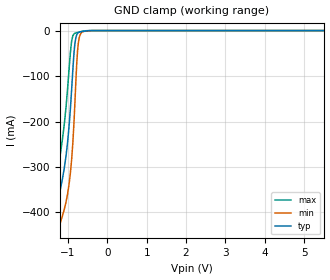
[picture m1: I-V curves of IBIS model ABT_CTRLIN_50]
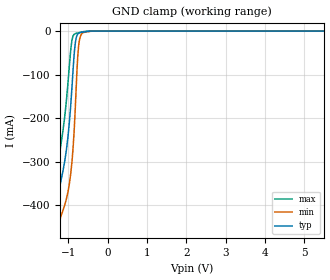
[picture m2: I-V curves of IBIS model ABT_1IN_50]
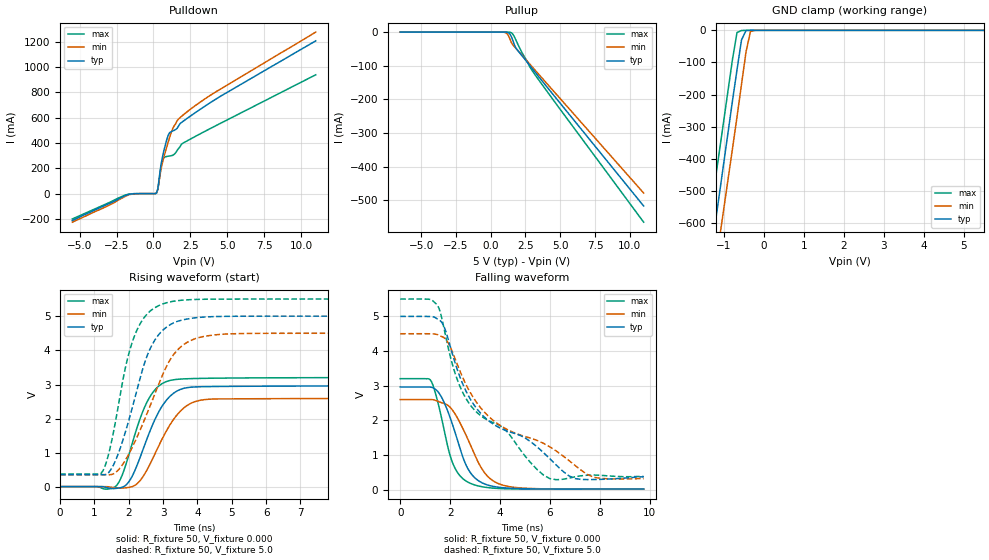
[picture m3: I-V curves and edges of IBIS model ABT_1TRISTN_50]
| Philips Semiconductors Inc.
| Logic Products Group
| IBIS model of 74ABT126
| 5V QUAD BUFFER/LINE DRIVER WITH ACTIVE HIGH OUTPUT
| ENABLE (3-STATE)
|[Packages]:
|[Package1]: SO 14-pin (D) Package ;
|[Package2]: SSOP 14-Pin Packages ;
|[Package3]: TSSOP 14-pin (PW) Package ;
[IBIS Ver]   3.2
[File Name]   abt126.ibs
[File Rev]   2.0
[Date]   04-Apr-2006
[Source]   File created from simulations by LPG
   Philips Semiconductors Nijmegen
[Notes]   V2.0   Ibis model.
Revision History
| Version Date   Author/ Description
|   Editor
| 1.0   1999   TA   Initial Version
| 1.1   September 2002 RM   Created fro IBIS version 3.2
| 1.2   February 2003  RM   Improved IBIS model
| 2.0   March 2006   RRV   Updated IBIS model
[Disclaimer]
    (C) Copyright 2003 Philips Semiconductors
    All rights reserved
    Philips Semiconductors warrants and represents that the IBIS model
    identified herein is owned by Philips Semiconductors (PHILIPS). The
    model provided is not warranted as fully representing all of the
    operating characteristics and specifications of the semiconductor
    products to which the model relates.  Moreover, unless there is a
    signed, written agreement to the contrary, this IBIS model is
    furnished on an "as is" basis without support or warranty of any
    kind, either expressed or implied, regarding the use thereof, and
    PHILIPS specifically disclaims all implied warranties of
    merchantability and fitness of the model for any purpose.
    PHILIPS does not assume any liability arising out of the application
    or use of this IBIS model including infringement of patents and
    copyrights, nor does PHILIPS convey any license under its patents and
    copyrights or the rights of others.
    PHILIPS provides IBIS models as a service to our customers. You and
    your company shall not distribute, convey, sell, or give these models
    to anyone else without receiving prior written permission from
    PHILIPS.
    PHILIPS reserves the right to make changes without notice to these
    IBIS models to improve reliability, function, or design.
    Please be aware that your receipt and subsequent use of the IBIS
    information provided shall serve as acceptance of the terms and
    conditions of this agreement.  If you do not accept these terms,
    you should return or destroy the IBIS models and any other
    accompanying information immediately.
|   Info for  SO 14-pin (D) Package
[Component]   74ABT126_1
[Manufacturer]   Philips Semiconductors Inc.
[Package]
|   typ   min   max
R_pkg   4.54E-02   4.18E-02   5.01E-02
L_pkg   2.31E-09   1.63E-09   3.26E-09
C_pkg   0.565E-12  0.437E-12  0.736E-12
[Pin] signal_name   model_name   R_pin   L_pin   C_pin
   1   1OE   ABT_CTRLIN_50 4.18E-02  3.26E-09 0.675E-12
   2   1A   ABT_1IN_50 5.01E-02  2.30E-09 0.574E-12
   3   1Y   ABT_1TRISTN_50 4.52E-02  1.71E-09 0.467E-12
   4   2OE   ABT_CTRLIN_50 4.38E-02  1.63E-09 0.437E-12
   5   2A   ABT_1IN_50 4.52E-02  1.71E-09 0.465E-12
   6   2Y   ABT_1TRISTN_50 5.01E-02  2.30E-09 0.573E-12
   7   GND   GND 4.18E-02  3.26E-09 0.736E-12
   8   3Y   ABT_1TRISTN_50 4.18E-02  3.26E-09 0.736E-12
   9   3A   ABT_1IN_50 5.01E-02  2.30E-09 0.573E-12
   10   3OE   ABT_CTRLIN_50 4.52E-02  1.71E-09 0.465E-12
   11   4Y   ABT_1TRISTN_50 4.38E-02  1.63E-09 0.437E-12
   12   4A   ABT_1IN_50 4.52E-02  1.71E-09 0.467E-12
   13   4OE   ABT_CTRLIN_50 5.01E-02  2.30E-09 0.574E-12
   14   VCC   POWER 4.18E-02  3.26E-09 0.736E-12
|   Info for  SSOP 14-Pin Packages
[Component]   74ABT126_2
[Manufacturer]   Philips Semiconductors Inc.
[Package]
|   typ   min   max
R_pkg   18.10E-03   15.70E-03   19.10E-03
L_pkg   2.12E-09   1.76E-09   2.65E-09
C_pkg   0.59E-12   0.55E-12   0.64E-12
[Pin] signal_name   model_name   R_pin   L_pin   C_pin
   1   1OE   ABT_CTRLIN_50 19.10E-03  2.65E-09  0.58E-12
   2   1A   ABT_1IN_50 17.70E-03  2.07E-09  0.64E-12
   3   1Y   ABT_1TRISTN_50 18.70E-03  1.82E-09  0.57E-12
   4   2OE   ABT_CTRLIN_50 15.70E-03  1.76E-09  0.55E-12
   5   2A   ABT_1IN_50 18.70E-03  1.82E-09  0.57E-12
   6   2Y   ABT_1TRISTN_50 17.70E-03  2.07E-09  0.63E-12
   7   GND   GND 19.10E-03  2.65E-09  0.60E-12
   8   3Y   ABT_1TRISTN_50 19.10E-03  2.65E-09  0.60E-12
   9   3A   ABT_1IN_50 17.80E-03  2.07E-09  0.64E-12
   10   3OE   ABT_CTRLIN_50 18.70E-03  1.82E-09  0.57E-12
   11   4Y   ABT_1TRISTN_50 15.70E-03  1.76E-09  0.55E-12
   12   4A   ABT_1IN_50 18.70E-03  1.82E-09  0.57E-12
   13   4OE   ABT_CTRLIN_50 17.80E-03  2.07E-09  0.64E-12
   14   VCC   POWER 19.10E-03  2.65E-09  0.60E-12
|   Info for  TSSOP 14-pin (PW) Package
[Component]   74ABT126_3
[Manufacturer]   Philips Semiconductors Inc.
[Package]
|   typ   min   max
R_pkg   3.44E-02   2.80E-02   4.33E-02
L_pkg   1.83E-09   1.36E-09   2.32E-09
C_pkg   0.380E-12  0.302E-12  0.442E-12
[Pin] signal_name   model_name   R_pin   L_pin   C_pin
   1   1OE   ABT_CTRLIN_50 3.46E-02  2.32E-09 0.423E-12
   2   1A   ABT_1IN_50 4.33E-02  2.04E-09 0.441E-12
   3   1Y   ABT_1TRISTN_50 2.80E-02  1.36E-09 0.307E-12
   4   2OE   ABT_CTRLIN_50 2.88E-02  1.38E-09 0.302E-12
   5   2A   ABT_1IN_50 2.80E-02  1.36E-09 0.308E-12
   6   2Y   ABT_1TRISTN_50 4.33E-02  2.04E-09 0.441E-12
   7   GND   GND 3.46E-02  2.32E-09 0.433E-12
   8   3Y   ABT_1TRISTN_50 3.46E-02  2.32E-09 0.433E-12
   9   3A   ABT_1IN_50 4.33E-02  2.04E-09 0.441E-12
   10   3OE   ABT_CTRLIN_50 2.80E-02  1.36E-09 0.308E-12
   11   4Y   ABT_1TRISTN_50 2.88E-02  1.38E-09 0.302E-12
   12   4A   ABT_1IN_50 2.80E-02  1.36E-09 0.308E-12
   13   4OE   ABT_CTRLIN_50 4.33E-02  2.04E-09 0.442E-12
   14   VCC   POWER 3.46E-02  2.31E-09 0.433E-12
| Models and submodels in the file (3): ABT_CTRLIN_50 (Input), ABT_1IN_50 (Input), ABT_1TRISTN_50 (3-state)
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|   Model ABT_CTRLIN_50
[Model]   ABT_CTRLIN_50
Model_type   Input
Vinl = 0.8V
Vinh = 2.0V
C_comp   1.16pF   0.81pF   1.60pF
[Model Spec]
| Note: The input and output voltage ratings may be exceeded if the input and
|   output current ratings are observed (please refer to the data sheet)
|   Subparameter   typ   min   max
| Thresholds
Vinl   0.8   0.8   0.8
Vinh   2.0   2.0   2.0
| Overshoot
S_overshoot_high   7.0   7.0   7.0
S_overshoot_low   -0.5   -0.5   -0.5
D_overshoot_high   7.2   7.2   7.2
D_overshoot_low   -1.3   -1.3   -1.3
D_overshoot_time   3n   3n   3n
|Ambient temperature:   25   85   -40
[Temperature Range]   35   95   -30
[Voltage Range]   5.0   4.5   5.5
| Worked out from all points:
|   GND clamp passes 1 mA (typ) near -0.55 V on its own axis
|Process Range   nominal   slow   fast
[GND_clamp]
|   voltage   I(typ)   I(min)   I(max)
-5.5V     -5.613A    -5.213A    -5.762A
-1.433V   -537.9mA   -602.5mA   -468.9mA
-1.302V   -416.7mA   -482.2mA   -346.4mA
-1.244V   -373.5mA   -441.3mA   -300.6mA
-1.094V   -302.1mA   -392.9mA   -205.2mA
-1.011V   -245.5mA   -359.3mA   -128mA
-908mV    -129.8mA   -283.5mA   -22.92mA
-824mV    -27.53mA   -157.3mA   -5.861mA
-778mV    -9.061mA   -71.51mA   -4.51mA
-739mV    -4.525mA   -28.2mA    -3.71mA
-608mV    -1.625mA   -2.151mA   -1.095mA
5.5V      0A         0A         0A
|   Model ABT_1IN_50
[Model]   ABT_1IN_50
Model_type   Input
Vinl = 0.8V
Vinh = 2.0V
C_comp   1.16pF   0.81pF   1.60pF
[Model Spec]
| Note: The input and output voltage ratings may be exceeded if the input and
|   output current ratings are observed (please refer to the data sheet)
|   Subparameter   typ   min   max
| Thresholds
Vinl   0.8   0.8   0.8
Vinh   2.0   2.0   2.0
| Overshoot
S_overshoot_high   7.0   7.0   7.0
S_overshoot_low   -0.5   -0.5   -0.5
D_overshoot_high   7.2   7.2   7.2
D_overshoot_low   -1.3   -1.3   -1.3
D_overshoot_time   3n   3n   3n
|Ambient temperature:   25   85   -40
[Temperature Range]   35   95   -30
[Voltage Range]   5.0   4.5   5.5
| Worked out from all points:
|   GND clamp passes 1 mA (typ) near -0.54 V on its own axis
|Process Range   nominal   slow   fast
[GND_clamp]
|   voltage   I(typ)   I(min)   I(max)
-5.5V     -5.63A     -5.221A    -5.87A
-1.433V   -532.6mA   -603.8mA   -460.4mA
-1.365V   -469mA     -540.4mA   -396.3mA
-1.244V   -369.8mA   -444.4mA   -293.6mA
-1.094V   -300mA     -400.1mA   -198.6mA
-1.011V   -244.4mA   -370mA     -121.7mA
-908mV    -130.2mA   -301mA     -20.88mA
-824mV    -28.26mA   -179.7mA   -5.876mA
-778mV    -9.681mA   -87.22mA   -4.623mA
-739mV    -5.141mA   -35.12mA   -3.857mA
-608mV    -2.187mA   -3.211mA   -1.117mA
5.5V      0A         0A         0A
|   Model ABT_1TRISTN_50
[Model]   ABT_1TRISTN_50
Model_type   3-state
Polarity   Non-Inverting
Enable   Active-Low
Vmeas =  1.5V
Cref  =  5e-11
Rref  =  500
Vref  =  0V
C_comp   11.52pF   7.65pF   16.13pF
[Model Spec]
| Note: The input and output voltage ratings may be exceeded if the input and
|   output current ratings are observed (please refer to the data sheet)
|   Subparameter   typ   min   max
| Timing Thresholds
Vmeas   1.5   1.5   1.5
|Ambient temperature:   25   85   -40
[Temperature Range]   35   95   -30
[Voltage Range]   5.0   4.5   5.5
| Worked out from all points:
|   slope of the pulldown table from 0 to 0.75 V, typ, clamps not added: 2.09 ohm
|   GND clamp passes 1 mA (typ) near -0.45 V on its own axis
|   rising waveform, R_fixture 50, V_fixture 0.000: 20-80 % time 747ps typ, 834ps min, 659ps max; typ from 0.016 V to 2.96 V
|   rising waveform, R_fixture 50, V_fixture 5.0: 20-80 % time 833ps typ, 1.06ns min, 676ps max; typ from 0.363 V to 5 V
|   falling waveform, R_fixture 50, V_fixture 0.000: 20-80 % time 866ps typ, 1.06ns min, 679ps max; typ from 2.96 V to 0.021 V
|   falling waveform, R_fixture 50, V_fixture 5.0: 20-80 % time 3.35ns typ, 3.91ns min, 2.76ns max; typ from 5 V to 0.372 V
|Process Range   nominal   slow   fast
[Pulldown]
|   voltage   I(typ)   I(min)   I(max)
-5.5V     -212.5mA   -225.8mA   -200.3mA
-1.65V    -5.52mA    -8.114mA   -3.4mA
200mV     3.096mA    3.863mA    1.668mA
300mV     39.35mA    35.89mA    32.77mA
500mV     220.5mA    184.6mA    205.3mA
600mV     282.5mA    238.9mA    260.1mA
1V        461.4mA    407.1mA    295.1mA
1.3V      493.8mA    511.6mA    302mA
1.7V      533.6mA    588.5mA    356mA
2V        569.9mA    619.3mA    398mA
4.2V      743.7mA    801.3mA    534.4mA
11V       1.206A     1.275A     938mA
[Pullup]
|   voltage   I(typ)   I(min)   I(max)
-6.5V     0A         0A         0A
900mV     -6.247uA   -228.3uA   -13.55nA
1.2V      -736.9uA   -5.795mA   -14.3uA
1.4V      -6.648mA   -22.07mA   -533uA
1.5V      -14.5mA    -32.02mA   -2.167mA
1.6V      -25.29mA   -37.98mA   -6.451mA
1.8V      -46.29mA   -47.6mA    -22.19mA
2.3V      -72.54mA   -70.68mA   -64.4mA
2.6V      -88.07mA   -85.05mA   -85.04mA
2.8V      -98.61mA   -94.53mA   -102.2mA
3.1V      -114.2mA   -108.7mA   -121.2mA
11V       -516.7mA   -478.1mA   -564.7mA
[GND_clamp]
|   voltage   I(typ)   I(min)   I(max)
-5.5V     -6.06A     -5.81A     -5.99A
-1.459V   -814.5mA   -946.5mA   -677.5mA
-1.347V   -715.4mA   -849.7mA   -579.4mA
-1.235V   -616mA     -753.2mA   -481.3mA
-1.122V   -516.6mA   -656.8mA   -383.2mA
-1.01V    -417.2mA   -560.4mA   -285.1mA
-785.7mV  -218.3mA   -367.6mA   -88.95mA
-673.5mV  -122.3mA   -269.4mA   -6.767mA
-561.2mV  -29.91mA   -168.1mA   -618uA
-449mV    -741.3uA   -67.48mA   -22.5uA
-336.7mV  -16.36uA   -3.547mA   -156.7nA
5.5V      0A         0A         0A
|Remark: The POWER_clamp table has been omitted, since the current
|   did not exceed 1 [uA]
[Ramp]
| variable   typ   min   max
dV/dt_r   1.767V/746.432ps   1.549V/833.676ps   1.912V/659.399ps
dV/dt_f   2.777V/3.351ns   2.508V/3.908ns   3.071V/2.757ns
R_load = 50
[Rising Waveform]
R_fixture   = 50
V_fixture   = 0.000
V_fixture_min = 0.000
V_fixture_max = 0.000
| time   V(typ)   V(min)   V(max)
0s        15.76mV    14.08mV    15.66mV
1.65ns    -34.05mV   -25.73mV   57.16mV
1.8ns     -5.239mV   -27.45mV   334.3mV
2.05ns    231.5mV    1.104mV    1.11V
2.5ns     1.335V     450.3mV    2.426V
2.75ns    1.954V     948.8mV    2.834V
3.1ns     2.549V     1.653V     3.09V
3.6ns     2.89V      2.314V     3.166V
4.1ns     2.936V     2.544V     3.18V
9.75ns    2.961V     2.595V     3.203V
[Rising Waveform]
R_fixture   = 50
V_fixture   = 5.0
V_fixture_min = 4.5
V_fixture_max = 5.5
| time   V(typ)   V(min)   V(max)
0s        363.4mV    365.8mV    385.2mV
1.25ns    361.1mV    365.8mV    485.8mV
1.6ns     747.9mV    418.3mV    1.853V
1.9ns     1.61V      789.4mV    3.49V
2.1ns     2.319V     1.165V     4.239V
2.5ns     3.749V     2.078V     5.024V
2.85ns    4.432V     2.955V     5.297V
3.4ns     4.843V     3.993V     5.451V
4.1ns     4.968V     4.389V     5.492V
9.75ns    5V         4.5V       5.5V
[Falling Waveform]
R_fixture   = 50
V_fixture   = 0.000
V_fixture_min = 0.000
V_fixture_max = 0.000
| time   V(typ)   V(min)   V(max)
0s        2.964V     2.602V     3.204V
1.25ns    2.956V     2.601V     3.119V
1.65ns    2.675V     2.512V     2.084V
1.9ns     2.273V     2.439V     1.253V
2.1ns     1.866V     2.29V      771.6mV
2.55ns    860.1mV    1.704V     295.7mV
2.8ns     502.9mV    1.311V     188.4mV
3.4ns     161.4mV    469.8mV    72.5mV
4.2ns     53.98mV    114.8mV    29.21mV
9.75ns    20.79mV    17.98mV    20.74mV
[Falling Waveform]
R_fixture   = 50
V_fixture   = 5.0
V_fixture_min = 4.5
V_fixture_max = 5.5
| time   V(typ)   V(min)   V(max)
0s        5V         4.5V       5.5V
1.5ns     4.92V      4.472V     5.311V
1.75ns    4.712V     4.389V     4.666V
2.15ns    3.771V     3.864V     3.468V
2.65ns    2.823V     3.014V     2.612V
3.8ns     1.86V      1.958V     1.912V
5.75ns    1.063V     1.335V     417.4mV
7ns       322mV      704mV      373.4mV
7.75ns    294.6mV    361.4mV    424.7mV
9.75ns    372.3mV    320mV      382.2mV
